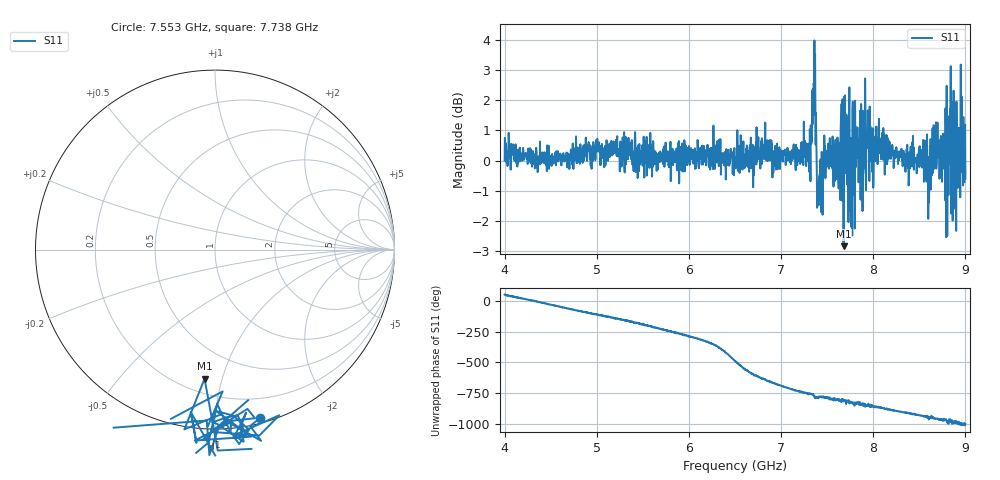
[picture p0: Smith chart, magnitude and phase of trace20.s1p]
! Created with skrf 1.8.0 (http://scikit-rf.org).
# Hz S RI R 50.0
!freq ReS11 ImS11
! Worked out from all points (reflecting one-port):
!   1601 points, 4 GHz to 9 GHz, reference 50 ohm
!   lowest |S11| = -2.8 dB at 7.678 GHz (marker M1), VSWR 6.20, Z = 14.6 - j43.9 ohm
!   phase of S11 starts at 51 deg and turns -1053 deg over the sweep
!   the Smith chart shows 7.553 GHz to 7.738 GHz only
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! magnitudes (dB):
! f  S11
! 4 GHz  0.0
! 4.625 GHz  0.0
! 5.25 GHz  -0.4
! 5.875 GHz  0.1
! 6.5 GHz  -0.2
! 7.125 GHz  0.2
! 7.294 GHz  0.4
! 7.356 GHz  2.5
! 7.412 GHz  -0.6
! 7.481 GHz  -0.6
! 7.619 GHz  0.1
! 7.678 GHz  -2.8
! 7.716 GHz  -0.8
! 7.75 GHz  0.5
! 7.784 GHz  0.0
! 7.8 GHz  -2.2
! 7.866 GHz  -0.3
! 7.928 GHz  0.7
! 7.981 GHz  0.0
! 8.05 GHz  0.7
! 8.375 GHz  -0.1
! 8.522 GHz  -0.1
! 8.612 GHz  -0.5
! 8.656 GHz  1.2
! 8.85 GHz  -0.7
! 8.919 GHz  -0.7
! 8.972 GHz  0.1
! 9 GHz  -0.6
